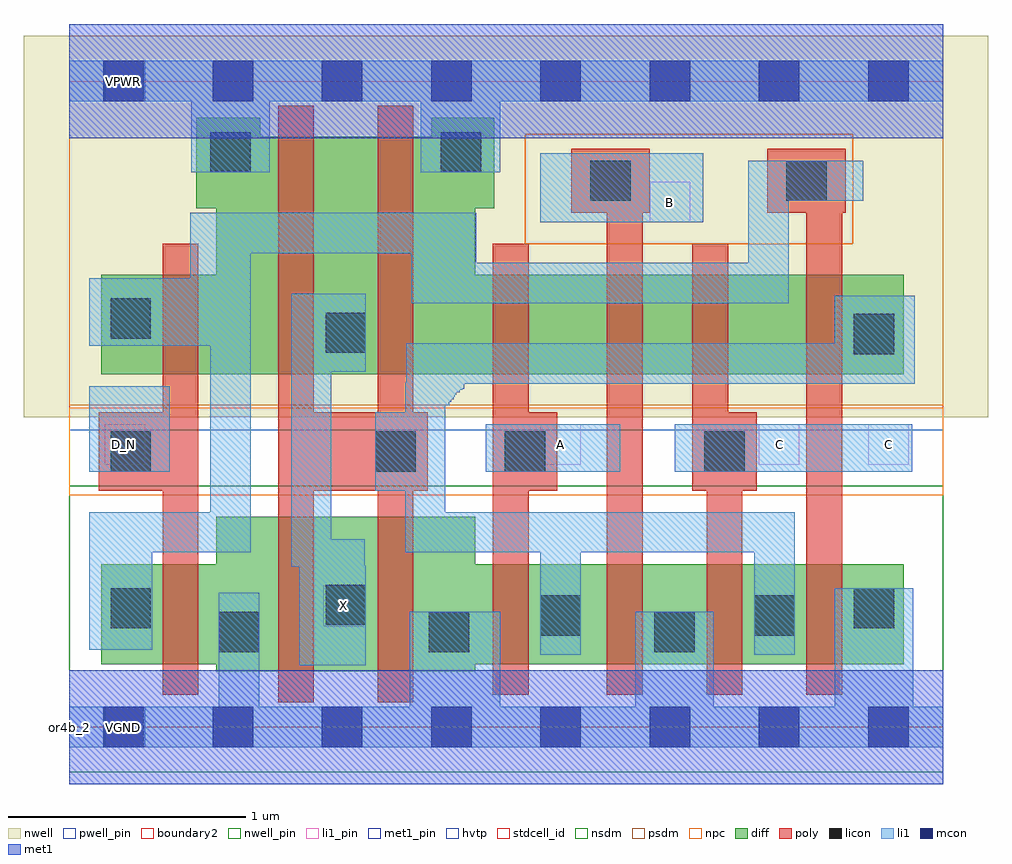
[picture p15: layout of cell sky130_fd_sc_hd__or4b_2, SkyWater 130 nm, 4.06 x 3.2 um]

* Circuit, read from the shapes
.subckt sky130_fd_sc_hd__or4b_2 A B C D_N VGND VNB VPB VPWR X
XM1 VGND D_N n1 VNB sky130_fd_pr__nfet_01v8 w=0.42 l=0.15
XM2 X n2 VGND VNB sky130_fd_pr__nfet_01v8 w=0.65 l=0.15 m=2
XM3 n2 A VGND VNB sky130_fd_pr__nfet_01v8 w=0.42 l=0.15
XM4 VGND B n2 VNB sky130_fd_pr__nfet_01v8 w=0.42 l=0.15
XM5 n2 C VGND VNB sky130_fd_pr__nfet_01v8 w=0.42 l=0.15
XM6 VGND n1 n2 VNB sky130_fd_pr__nfet_01v8 w=0.42 l=0.15
XM7 VPWR D_N n1 VPB sky130_fd_pr__pfet_01v8_hvt w=0.42 l=0.15
XM8 X n2 VPWR VPB sky130_fd_pr__pfet_01v8_hvt w=1 l=0.15 m=2
XM9 n3 A VPWR VPB sky130_fd_pr__pfet_01v8_hvt w=0.42 l=0.15
XM10 n4 B n3 VPB sky130_fd_pr__pfet_01v8_hvt w=0.42 l=0.15
XM11 n5 C n4 VPB sky130_fd_pr__pfet_01v8_hvt w=0.42 l=0.15
XM12 n2 n1 n5 VPB sky130_fd_pr__pfet_01v8_hvt w=0.42 l=0.15
.ends

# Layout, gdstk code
import gdstk
lib = gdstk.Library(unit=1e-6, precision=1e-09)
def R(c, l, rs):  # rectangles x0, y0, x1, y1
    for r in rs: c.add(gdstk.rectangle(r[:2], r[2:], *l))
def A(c, l, x, y, w, h, nx, ny, dx, dy):  # array of equal rectangles
    R(c, l, [(x+i*dx, y+j*dy, x+i*dx+w, y+j*dy+h) for i in range(nx) for j in range(ny)])
def P(c, l, *ps):  # polygons
    for p in ps: c.add(gdstk.Polygon(p, *l))
nwell_pin = (64, 16)
nwell = (64, 20)
diff = (65, 20)
poly = (66, 20)
licon = (66, 44)
li1_pin = (67, 16)
li1 = (67, 20)
mcon = (67, 44)
met1_pin = (68, 16)
met1 = (68, 20)
hvtp = (78, 44)
stdcell_id = (81, 4)
nsdm = (93, 44)
psdm = (94, 20)
npc = (95, 20)
pwell_pin = (122, 16)
boundary2 = (236, 0)

sky130_fd_sc_hd__or4b_2 = lib.new_cell('sky130_fd_sc_hd__or4b_2')
R(sky130_fd_sc_hd__or4b_2, nwell_pin, [(0.15,2.635,0.32,2.805)])
R(sky130_fd_sc_hd__or4b_2, nwell, [(-0.19,1.305,3.87,2.91)])
P(sky130_fd_sc_hd__or4b_2, diff, [(3.515,0.685),(1.71,0.685),(1.71,0.885),(0.62,0.885),(0.62,0.685),(0.135,0.685),(0.135,0.265),(0.62,0.265),(0.62,0.235),(1.71,0.235),(1.71,0.265),(3.515,0.265)],
  [(3.515,1.905),(1.71,1.905),(1.71,2.185),(1.79,2.185),(1.79,2.565),(1.525,2.565),(1.525,2.485),(0.805,2.485),(0.805,2.565),(0.535,2.565),(0.535,2.185),(0.62,2.185),(0.62,1.905),(0.135,1.905),(0.135,1.485),(3.515,1.485)])
P(sky130_fd_sc_hd__or4b_2, poly, [(1.51,1.325),(1.45,1.325),(1.45,2.615),(1.3,2.615),(1.3,1.325),(1.03,1.325),(1.03,2.615),(0.88,2.615),(0.88,0.105),(1.03,0.105),(1.03,0.995),(1.3,0.995),(1.3,0.105),(1.45,0.105),(1.45,0.995),(1.51,0.995)],
  [(2.055,1.325),(1.935,1.325),(1.935,2.035),(1.785,2.035),(1.785,0.135),(1.935,0.135),(1.935,0.995),(2.055,0.995)],
  [(3.27,2.435),(2.94,2.435),(2.94,2.165),(3.105,2.165),(3.105,0.135),(3.255,0.135),(3.255,2.165),(3.27,2.165)],
  [(2.895,1.325),(2.775,1.325),(2.775,2.035),(2.625,2.035),(2.625,0.995),(2.685,0.995),(2.685,0.135),(2.835,0.135),(2.835,0.995),(2.895,0.995)],
  [(2.445,2.435),(2.115,2.435),(2.115,2.165),(2.265,2.165),(2.265,0.135),(2.415,0.135),(2.415,2.165),(2.445,2.165)],
  [(0.545,2.035),(0.395,2.035),(0.395,1.325),(0.125,1.325),(0.125,0.995),(0.395,0.995),(0.395,0.135),(0.545,0.135)])
R(sky130_fd_sc_hd__or4b_2, licon, [(0.63,0.315,0.8,0.485), (1.515,0.315,1.685,0.485), (2.465,0.315,2.635,0.485), (1.985,0.385,2.155,0.555), (2.885,0.385,3.055,0.555), (0.175,0.415,0.345,0.585), (3.305,0.415,3.475,0.585), (1.08,0.43,1.25,0.6), (0.175,1.075,0.345,1.245), (1.29,1.075,1.46,1.245), (1.835,1.075,2.005,1.245), (2.675,1.075,2.845,1.245), (3.305,1.57,3.475,1.74), (1.08,1.575,1.25,1.745), (0.175,1.635,0.345,1.805), (2.195,2.215,2.365,2.385), (3.02,2.215,3.19,2.385), (0.595,2.335,0.765,2.505), (1.565,2.335,1.735,2.505)])
R(sky130_fd_sc_hd__or4b_2, li1_pin, [(1.07,0.425,1.24,0.595), (0.15,1.105,0.32,1.275), (1.985,1.105,2.155,1.275), (2.905,1.105,3.075,1.275), (3.365,1.105,3.535,1.275), (2.445,2.125,2.615,2.295)])
R(sky130_fd_sc_hd__or4b_2, li1, [(0.085,1.075,0.425,1.435), (1.755,1.075,2.32,1.275), (2.55,1.075,3.55,1.275), (1.985,2.125,2.67,2.415)])
P(sky130_fd_sc_hd__or4b_2, li1, [(3.56,1.815),(3.225,1.815),(3.225,1.615),(1.42,1.615),(1.42,1.45),(1.415,1.45),(1.415,1.325),(1.29,1.325),(1.29,0.995),(1.415,0.995),(1.415,0.735),(1.985,0.735),(1.985,0.305),(2.155,0.305),(2.155,0.735),(2.885,0.735),(2.885,0.305),(3.055,0.305),(3.055,0.905),(1.585,0.905),(1.585,1.355),(1.6,1.355),(1.6,1.37),(1.61,1.37),(1.61,1.38),(1.62,1.38),(1.62,1.39),(1.625,1.39),(1.625,1.4),(1.63,1.4),(1.63,1.41),(1.645,1.41),(1.645,1.42),(1.655,1.42),(1.655,1.425),(1.665,1.425),(1.665,1.445),(3.56,1.445)],
  [(3.68,0.085),(3.555,0.085),(3.555,0.585),(3.225,0.585),(3.225,0.085),(2.715,0.085),(2.715,0.485),(2.385,0.485),(2.385,0.085),(1.815,0.085),(1.815,0.485),(1.435,0.485),(1.435,0.085),(0.8,0.085),(0.8,0.565),(0.63,0.565),(0.63,0.085),(0,0.085),(0,-0.085),(3.68,-0.085)],
  [(3.68,2.805),(0,2.805),(0,2.635),(0.515,2.635),(0.515,2.335),(0.845,2.335),(0.845,2.635),(1.48,2.635),(1.48,2.335),(1.815,2.335),(1.815,2.635),(3.68,2.635)],
  [(3.345,2.385),(2.86,2.385),(2.86,1.955),(1.715,1.955),(1.715,2.165),(0.51,2.165),(0.51,1.89),(0.085,1.89),(0.085,1.605),(0.595,1.605),(0.595,0.905),(0.085,0.905),(0.085,0.325),(0.35,0.325),(0.35,0.735),(0.765,0.735),(0.765,1.995),(1.44,1.995),(1.44,1.785),(3.03,1.785),(3.03,2.215),(3.345,2.215)],
  [(1.25,0.68),(1.245,0.68),(1.245,0.79),(1.105,0.79),(1.105,1.495),(1.25,1.495),(1.25,1.825),(0.935,1.825),(0.935,0.675),(0.97,0.675),(0.97,0.26),(1.25,0.26)])
A(sky130_fd_sc_hd__or4b_2, mcon, 0.145, -0.085, 0.17, 0.17, 8, 2, 0.46, 2.72)
R(sky130_fd_sc_hd__or4b_2, met1_pin, [(0.15,-0.085,0.32,0.085), (0.15,2.635,0.32,2.805)])
R(sky130_fd_sc_hd__or4b_2, hvtp, [(0,1.25,3.68,2.72)])
R(sky130_fd_sc_hd__or4b_2, stdcell_id, [(0,0,3.68,2.72)])
R(sky130_fd_sc_hd__or4b_2, nsdm, [(0,-0.19,3.68,1.015)])
P(sky130_fd_sc_hd__or4b_2, psdm, [(3.68,2.91),(3.3,2.91),(3.3,2.035),(1.92,2.035),(1.92,2.495),(3.3,2.495),(3.3,2.91),(0,2.91),(0,1.355),(3.68,1.355)])
R(sky130_fd_sc_hd__or4b_2, npc, [(0,0.975,3.68,1.345), (1.92,2.035,3.3,2.495)])
R(sky130_fd_sc_hd__or4b_2, pwell_pin, [(0.15,-0.085,0.32,0.085)])
R(sky130_fd_sc_hd__or4b_2, boundary2, [(0,0,3.68,2.72)])
sky130_fd_sc_hd__or4b_2.add(gdstk.FlexPath([(0,2.72),(3.68,2.72)], 0.48, ends="flush", simple_path=True, layer=68, datatype=20))  # met1
sky130_fd_sc_hd__or4b_2.add(gdstk.FlexPath([(0,0),(3.68,0)], 0.48, ends="flush", simple_path=True, layer=68, datatype=20))  # met1
sky130_fd_sc_hd__or4b_2.add(gdstk.Label('C', (3.45,1.19), layer=67, texttype=5))
sky130_fd_sc_hd__or4b_2.add(gdstk.Label('A', (2.07,1.19), layer=67, texttype=5))
sky130_fd_sc_hd__or4b_2.add(gdstk.Label('X', (1.155,0.51), layer=67, texttype=5))
sky130_fd_sc_hd__or4b_2.add(gdstk.Label('C', (2.99,1.19), layer=67, texttype=5))
sky130_fd_sc_hd__or4b_2.add(gdstk.Label('B', (2.53,2.21), layer=67, texttype=5))
sky130_fd_sc_hd__or4b_2.add(gdstk.Label('D_N', (0.23,1.19), layer=67, texttype=5))
sky130_fd_sc_hd__or4b_2.add(gdstk.Label('VPWR', (0.23,2.72), layer=68, texttype=5))
sky130_fd_sc_hd__or4b_2.add(gdstk.Label('VGND', (0.23,0), layer=68, texttype=5))
sky130_fd_sc_hd__or4b_2.add(gdstk.Label('VPB', (0.23,2.72), layer=64, texttype=5))
sky130_fd_sc_hd__or4b_2.add(gdstk.Label('VNB', (0.23,0), layer=64, texttype=59))
sky130_fd_sc_hd__or4b_2.add(gdstk.Label('or4b_2', (0,0), layer=83, texttype=44))

lib.write_gds('sky130_fd_sc_hd__or4b_2.gds')
